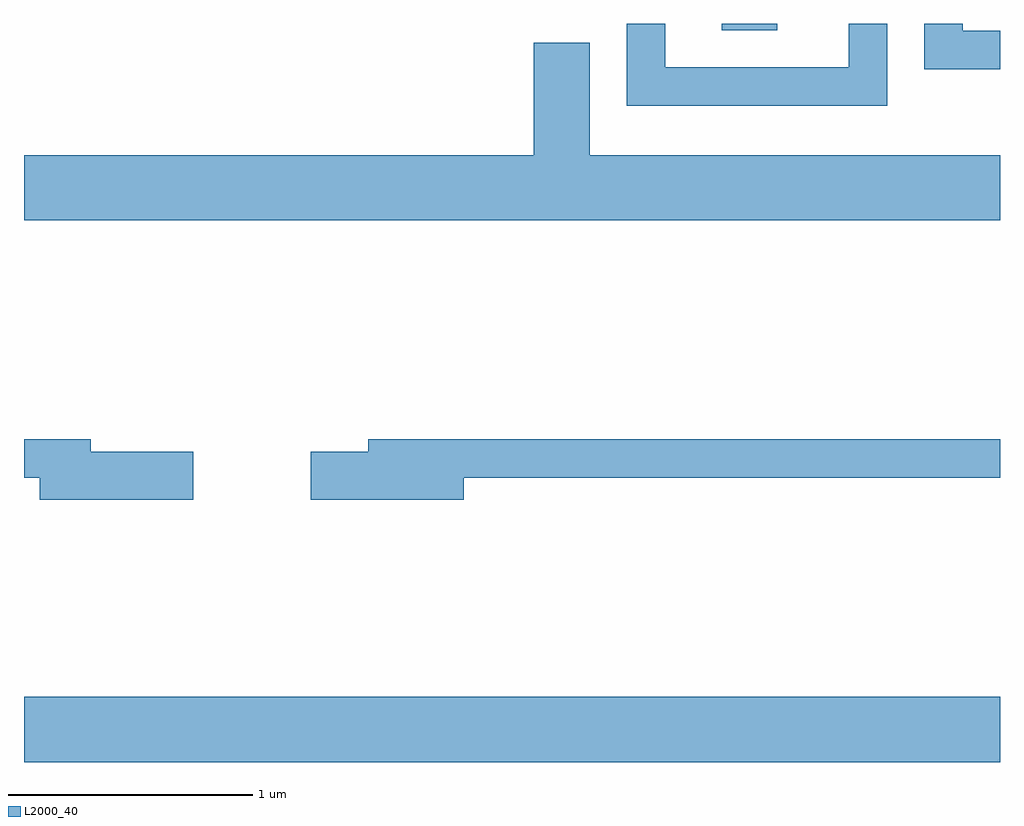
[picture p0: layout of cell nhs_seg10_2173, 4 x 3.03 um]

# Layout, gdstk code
import gdstk
lib = gdstk.Library(unit=1e-6, precision=1e-09)
def R(c, l, rs):  # rectangles x0, y0, x1, y1
    for r in rs: c.add(gdstk.rectangle(r[:2], r[2:], *l))
def P(c, l, *ps):  # polygons
    for p in ps: c.add(gdstk.Polygon(p, *l))
L2000_40 = (2000, 40)

nhs_seg10_2173 = lib.new_cell('nhs_seg10_2173')
R(nhs_seg10_2173, L2000_40, [(249.611,2089.496,253.611,2089.764), (252.471,2092.496,252.699,2092.522)])
P(nhs_seg10_2173, L2000_40, [(253.149,2092.522),(252.991,2092.522),(252.991,2092.344),(252.239,2092.344),(252.239,2092.522),(252.081,2092.522),(252.081,2092.186),(253.149,2092.186)],
  [(253.611,2092.494),(253.459,2092.494),(253.459,2092.522),(253.301,2092.522),(253.301,2092.336),(253.611,2092.336)],
  [(253.611,2091.984),(251.929,2091.984),(251.929,2092.444),(251.701,2092.444),(251.701,2091.984),(249.611,2091.984),(249.611,2091.716),(253.611,2091.716)],
  [(251.414,2090.661),(253.611,2090.661),(253.611,2090.819),(251.021,2090.819),(251.021,2090.769),(250.786,2090.769),(250.786,2090.571),(251.414,2090.571)],
  [(250.304,2090.769),(249.884,2090.769),(249.884,2090.819),(249.611,2090.819),(249.611,2090.661),(249.676,2090.661),(249.676,2090.571),(250.304,2090.571)])

lib.write_gds('nhs_seg10_2173.gds')
